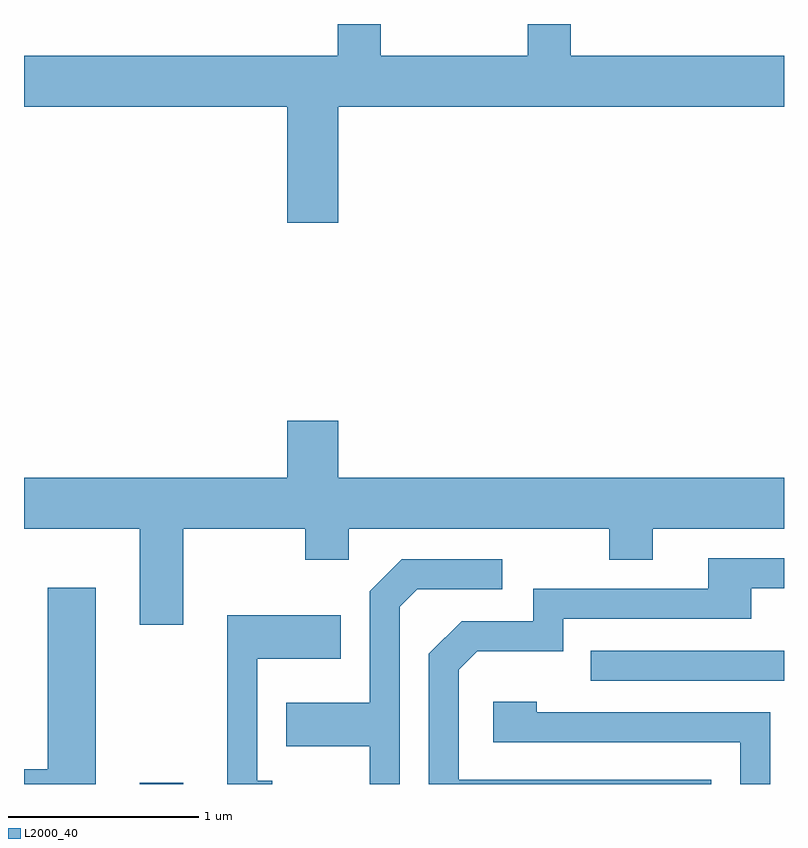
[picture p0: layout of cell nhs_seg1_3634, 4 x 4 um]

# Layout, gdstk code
import gdstk
lib = gdstk.Library(unit=1e-6, precision=1e-09)
def R(c, l, rs):  # rectangles x0, y0, x1, y1
    for r in rs: c.add(gdstk.rectangle(r[:2], r[2:], *l))
def P(c, l, *ps):  # polygons
    for p in ps: c.add(gdstk.Polygon(p, *l))
L2000_40 = (2000, 40)

nhs_seg1_3634 = lib.new_cell('nhs_seg1_3634')
R(nhs_seg1_3634, L2000_40, [(294.221,973.712,294.449,973.719), (296.593,974.256,297.611,974.414)])
P(nhs_seg1_3634, L2000_40, [(295.264,977.276),(297.611,977.276),(297.611,977.544),(296.489,977.544),(296.489,977.712),(296.261,977.712),(296.261,977.544),(295.489,977.544),(295.489,977.712),(295.261,977.712),(295.261,977.544),(293.611,977.544),(293.611,977.276),(294.996,977.276),(294.996,976.666),(295.264,976.666)],
  [(294.449,975.056),(295.091,975.056),(295.091,974.891),(295.319,974.891),(295.319,975.056),(296.691,975.056),(296.691,974.891),(296.919,974.891),(296.919,975.056),(297.611,975.056),(297.611,975.324),(295.264,975.324),(295.264,975.624),(294.996,975.624),(294.996,975.324),(293.611,975.324),(293.611,975.056),(294.221,975.056),(294.221,974.551),(294.449,974.551)],
  [(297.229,973.734),(295.899,973.734),(295.899,974.314),(295.997,974.411),(296.449,974.411),(296.449,974.581),(297.439,974.581),(297.439,974.741),(297.611,974.741),(297.611,974.899),(297.211,974.899),(297.211,974.739),(296.291,974.739),(296.291,974.569),(295.914,974.569),(295.741,974.397),(295.741,973.712),(297.229,973.712)],
  [(295.589,974.644),(295.682,974.736),(296.128,974.736),(296.128,974.894),(295.599,974.894),(295.431,974.727),(295.431,974.139),(294.991,974.139),(294.991,973.911),(295.431,973.911),(295.431,973.712),(295.589,973.712)],
  [(293.989,974.744),(293.736,974.744),(293.736,973.789),(293.611,973.789),(293.611,973.712),(293.989,973.712)],
  [(294.918,973.729),(294.839,973.729),(294.839,974.371),(295.279,974.371),(295.279,974.599),(294.681,974.599),(294.681,973.712),(294.918,973.712)],
  [(297.539,974.089),(296.309,974.089),(296.309,974.144),(296.081,974.144),(296.081,973.931),(297.381,973.931),(297.381,973.712),(297.539,973.712)])

lib.write_gds('nhs_seg1_3634.gds')
